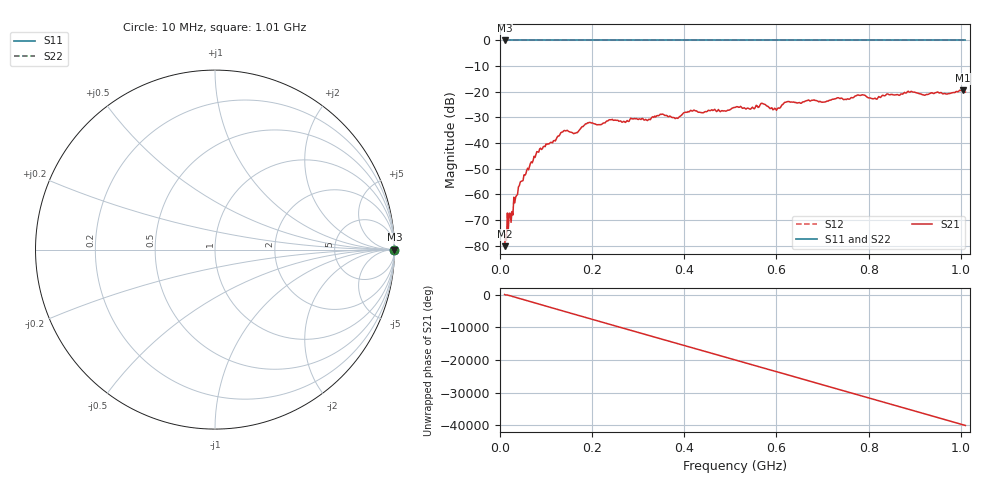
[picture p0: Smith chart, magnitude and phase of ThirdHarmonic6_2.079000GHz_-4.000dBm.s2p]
! 8/17/2025 12:53:33 AM
! C:\ANRITSUVNA\TEMP\TEMP.S2P
! CHANNEL.1
! TR.MEASUREMENT
! RAW.DATA
! RF.CORRECTION.OFF
! AVERAGING.OFF
! IF.BANDWIDTH: 5KHZ
! SWEEPTYPE:  FREQ.SWEEP(Linear)
! Reference Plane Port Info
! PORT:  PORT1  PORT2
! DISTANCE:  0  m  0  m
! TIME:  0  s  0  s
! PHASE.OFFSET:  0  deg.  0  deg.
! LOSS:  0  dB  0  dB
! REF.LOSS:  0  dB  0  dB
! REF.FREQ:  0  Hz  0  Hz
! Power Info
! POWER:  -20  dBm  -20  dBm
! EFF.POWER:  -20  dBm  -20  dBm
! SOURCE.ATTEN:  0  dB  0  dB
! TEST.ATTEN:  0  dB  0  dB
# GHZ S RI R 50.0
! FREQ.GHZ  S11RE  S11IM  S21RE  S21IM  S12RE  S12IM  S22RE  S22IM
!; PortSelection: Port_12
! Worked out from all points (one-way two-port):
!   501 points, 10 MHz to 1.01 GHz, reference 50 ohm
!   highest |S21| = -19.34 dB at 1.004 GHz (marker M1); lowest = -80.1 dB at 10 MHz (marker M2)
!   lowest |S11| = 0.0 dB at 10 MHz (marker M3)
!   |S11| at or under -10 dB: nowhere
!   |S22| runs from 0.0 to 0.0 dB; largest |S21 - S12| = 1.1
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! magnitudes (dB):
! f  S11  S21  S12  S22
! 10 MHz  0.0  -80.1  0.0  0.0
! 20 MHz  0.0  -67.3  0.0  0.0
! 44 MHz  0.0  -55.1  0.0  0.0
! 78 MHz  0.0  -44.5  0.0  0.0
! 136 MHz  0.0  -35.7  0.0  0.0
! 164 MHz  0.0  -36.1  0.0  0.0
! 178 MHz  0.0  -33.6  0.0  0.0
! 194 MHz  0.0  -31.9  0.0  0.0
! 322 MHz  0.0  -30.8  0.0  0.0
! 344 MHz  0.0  -29.3  0.0  0.0
! 384 MHz  0.0  -30.3  0.0  0.0
! 418 MHz  0.0  -27.5  0.0  0.0
! 510 MHz  0.0  -26.1  0.0  0.0
! 570 MHz  0.0  -24.6  0.0  0.0
! 596 MHz  0.0  -26.4  0.0  0.0
! 622 MHz  0.0  -23.9  0.0  0.0
! 678 MHz  0.0  -23.3  0.0  0.0
! 786 MHz  0.0  -21.2  0.0  0.0
! 814 MHz  0.0  -22.5  0.0  0.0
! 844 MHz  0.0  -21.1  0.0  0.0
! 1.004 GHz  0.0  -19.3  0.0  0.0
! 1.01 GHz  0.0  -20.1  0.0  0.0
